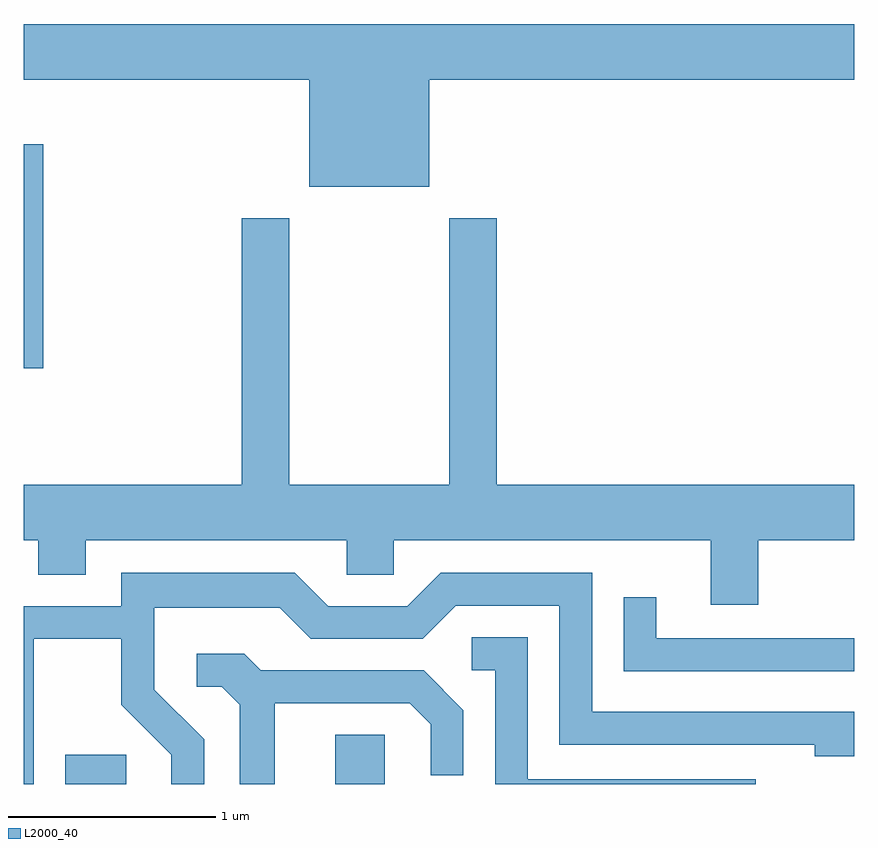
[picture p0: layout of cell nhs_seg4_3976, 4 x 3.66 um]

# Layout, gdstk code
import gdstk
lib = gdstk.Library(unit=1e-6, precision=1e-09)
def R(c, l, rs):  # rectangles x0, y0, x1, y1
    for r in rs: c.add(gdstk.rectangle(r[:2], r[2:], *l))
def P(c, l, *ps):  # polygons
    for p in ps: c.add(gdstk.Polygon(p, *l))
L2000_40 = (2000, 40)

nhs_seg4_3976 = lib.new_cell('nhs_seg4_3976')
R(nhs_seg4_3976, L2000_40, [(301.811,1317.982,302.104,1318.124), (303.111,1317.982,303.349,1318.219), (301.611,1319.986,301.704,1321.064)])
P(nhs_seg4_3976, L2000_40, [(303.564,1321.376),(305.611,1321.376),(305.611,1321.644),(301.611,1321.644),(301.611,1321.376),(302.986,1321.376),(302.986,1320.861),(303.564,1320.861)],
  [(305.149,1319.156),(305.611,1319.156),(305.611,1319.424),(303.889,1319.424),(303.889,1320.709),(303.661,1320.709),(303.661,1319.424),(302.889,1319.424),(302.889,1320.709),(302.661,1320.709),(302.661,1319.424),(301.611,1319.424),(301.611,1319.156),(301.681,1319.156),(301.681,1318.991),(301.909,1318.991),(301.909,1319.156),(303.166,1319.156),(303.166,1318.991),(303.394,1318.991),(303.394,1319.156),(304.921,1319.156),(304.921,1318.846),(305.149,1318.846)],
  [(301.659,1318.681),(302.081,1318.681),(302.081,1318.364),(302.321,1318.124),(302.321,1317.982),(302.479,1317.982),(302.479,1318.197),(302.239,1318.437),(302.239,1318.831),(302.844,1318.831),(302.994,1318.681),(303.532,1318.681),(303.692,1318.841),(304.191,1318.841),(304.191,1318.171),(305.421,1318.171),(305.421,1318.116),(305.611,1318.116),(305.611,1318.329),(304.349,1318.329),(304.349,1318.999),(303.619,1318.999),(303.459,1318.839),(303.077,1318.839),(302.917,1318.999),(302.081,1318.999),(302.081,1318.839),(301.611,1318.839),(301.611,1317.982),(301.659,1317.982)],
  [(305.611,1318.684),(304.659,1318.684),(304.659,1318.883),(304.501,1318.883),(304.501,1318.526),(305.611,1318.526)],
  [(305.138,1318.004),(304.039,1318.004),(304.039,1318.689),(303.768,1318.689),(303.768,1318.531),(303.881,1318.531),(303.881,1317.982),(305.138,1317.982)],
  [(302.819,1318.371),(303.469,1318.371),(303.571,1318.269),(303.571,1318.023),(303.729,1318.023),(303.729,1318.337),(303.537,1318.529),(302.752,1318.529),(302.672,1318.609),(302.443,1318.609),(302.443,1318.451),(302.564,1318.451),(302.651,1318.364),(302.651,1317.982),(302.819,1317.982)])

lib.write_gds('nhs_seg4_3976.gds')
